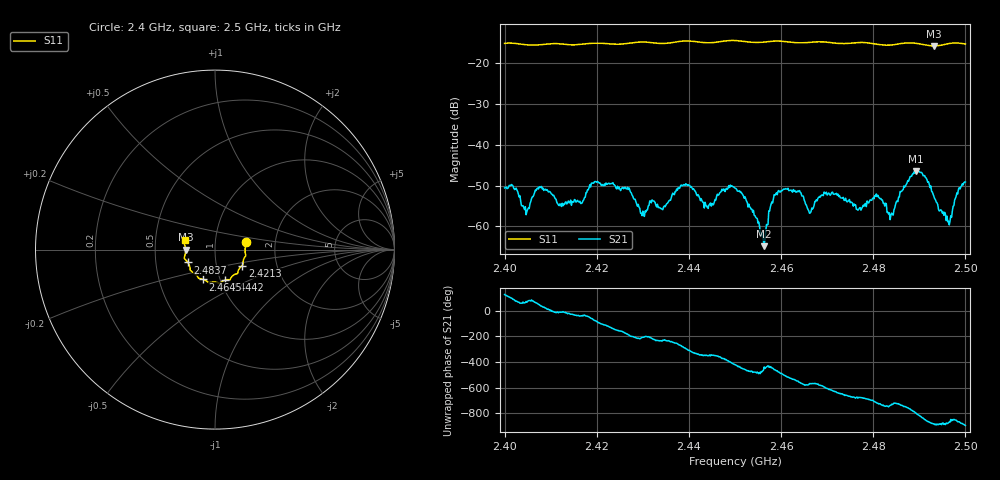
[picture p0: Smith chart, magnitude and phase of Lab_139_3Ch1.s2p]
# Hz S RI R 50
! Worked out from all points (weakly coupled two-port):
!   601 points, 2.4 GHz to 2.5 GHz, reference 50 ohm
!   highest |S21| = -46.47 dB at 2.4893 GHz (marker M1); lowest = -64.9 dB at 2.4563 GHz (marker M2)
!   lowest |S11| = -15.7 dB at 2.4932 GHz (marker M3), VSWR 1.39, Z = 35.9 - j0.0492 ohm
!   |S11| at or under -10 dB: start of sweep to end of sweep
!   S12 and S22 are empty: the file has one direction only
!   S11 on the Smith chart (normalised r, x): 2.4 GHz: 1.41, +0.12; 2.4213 GHz: 1.33, -0.25; 2.4442 GHz: 1.05, -0.37; 2.4645 GHz: 0.83, -0.29; 2.4837 GHz: 0.73, -0.11; 2.5 GHz: 0.71, +0.07
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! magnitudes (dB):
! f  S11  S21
! 2.4 GHz  -15.1  -50.6
! 2.4048 GHz  -15.5  -56.4
! 2.4075 GHz  -15.5  -50.3
! 2.4167 GHz  -15.3  -54.4
! 2.4213 GHz  -15.1  -50.0
! 2.4267 GHz  -15.1  -50.5
! 2.43 GHz  -14.8  -56.3
! 2.4333 GHz  -15.1  -55.4
! 2.4393 GHz  -14.5  -49.5
! 2.4442 GHz  -15.0  -55.6
! 2.45 GHz  -14.4  -50.6
! 2.4563 GHz  -14.8  -64.9
! 2.459 GHz  -14.5  -51.8
! 2.4645 GHz  -15.0  -52.6
! 2.4667 GHz  -14.8  -55.5
! 2.4715 GHz  -15.0  -52.2
! 2.4833 GHz  -15.6  -57.0
! 2.4837 GHz  -15.5  -58.4
! 2.4893 GHz  -15.1  -46.5
! 2.4932 GHz  -15.7  -52.7
! 2.4963 GHz  -15.2  -58.8
! 2.5 GHz  -15.3  -49.1
